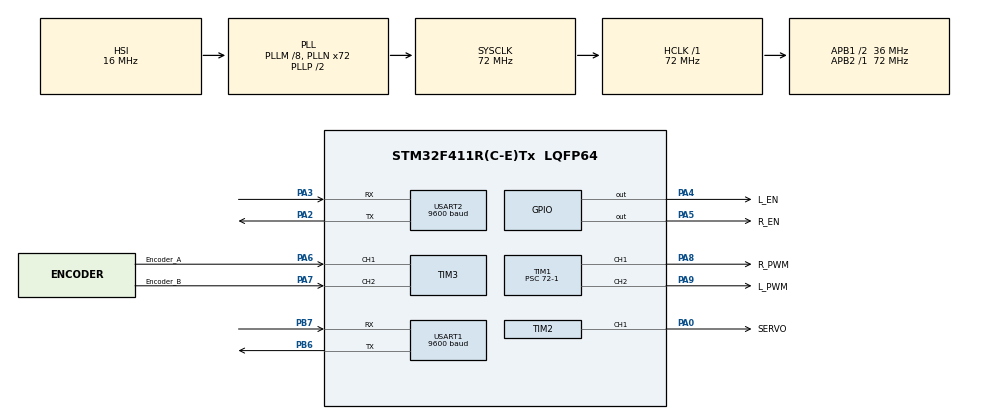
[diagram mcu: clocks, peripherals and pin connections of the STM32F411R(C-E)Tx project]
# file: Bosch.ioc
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FREERTOS.Tasks01=Communication,-1,1024,Commu_function,Default,NULL,Dynamic,NULL,NULL;Motor_Servo_Tas,1,512,Motor_Servo_Task_Function,Default,NULL,Dynamic,NULL,NULL;Re_Encoder_Task,0,512,Read_Encoder,Default,NULL,Dynamic,NULL,NULL
FREERTOS.configUSE_NEWLIB_REENTRANT=1
Mcu.Family=STM32F4
Mcu.Name=STM32F411R(C-E)Tx
Mcu.Package=LQFP64
NVIC.PriorityGroup=NVIC_PRIORITYGROUP_4
NVIC.TIM4_IRQn=true\:15\:0\:false\:false\:true\:false\:false\:true\:true
NVIC.TimeBase=TIM4_IRQn
NVIC.TimeBaseIP=TIM4
NVIC.USART1_IRQn=true\:5\:0\:false\:false\:true\:true\:true\:true\:true
NVIC.USART2_IRQn=true\:5\:0\:false\:false\:true\:true\:true\:true\:true
PA0-WKUP.GPIO_Label=SERVO
PA0-WKUP.GPIO_Speed=GPIO_SPEED_FREQ_HIGH
PA0-WKUP.Signal=S_TIM2_CH1_ETR
PA13.Mode=Serial_Wire
PA13.Signal=SYS_JTMS-SWDIO
PA14.Mode=Serial_Wire
PA14.Signal=SYS_JTCK-SWCLK
PA2.GPIO_Speed=GPIO_SPEED_FREQ_HIGH
PA2.Mode=Asynchronous
PA2.Signal=USART2_TX
PA3.GPIO_Speed=GPIO_SPEED_FREQ_HIGH
PA3.Mode=Asynchronous
PA3.Signal=USART2_RX
PA4.GPIO_Label=L_EN
PA4.GPIO_Speed=GPIO_SPEED_FREQ_HIGH
PA4.PinState=GPIO_PIN_SET
PA4.Signal=GPIO_Output
PA5.GPIO_Label=R_EN
PA5.GPIO_Speed=GPIO_SPEED_FREQ_HIGH
PA5.PinState=GPIO_PIN_SET
PA5.Signal=GPIO_Output
PA6.GPIO_Label=Encoder_A
PA6.GPIO_Speed=GPIO_SPEED_FREQ_HIGH
PA6.Signal=S_TIM3_CH1
PA7.GPIO_Label=Encoder_B
PA7.GPIO_Speed=GPIO_SPEED_FREQ_HIGH
PA7.Signal=S_TIM3_CH2
PA8.GPIO_Label=R_PWM
PA8.GPIO_Speed=GPIO_SPEED_FREQ_HIGH
PA8.Signal=S_TIM1_CH1
PA9.GPIO_Label=L_PWM
PA9.GPIO_Speed=GPIO_SPEED_FREQ_HIGH
PA9.Signal=S_TIM1_CH2
PB6.GPIO_Speed=GPIO_SPEED_FREQ_HIGH
PB6.Mode=Asynchronous
PB6.Signal=USART1_TX
PB7.GPIO_Speed=GPIO_SPEED_FREQ_HIGH
PB7.Mode=Asynchronous
PB7.Signal=USART1_RX
ProjectManager.HeapSize=0x200
ProjectManager.StackSize=0x400
ProjectManager.TargetToolchain=STM32CubeIDE
RCC.48MHZClocksFreq_Value=36000000
RCC.AHBFreq_Value=72000000
RCC.APB1CLKDivider=RCC_HCLK_DIV2
RCC.APB1Freq_Value=36000000
RCC.APB1TimFreq_Value=72000000
RCC.APB2Freq_Value=72000000
RCC.APB2TimFreq_Value=72000000
RCC.CortexFreq_Value=72000000
RCC.HCLKFreq_Value=72000000
RCC.HSE_VALUE=25000000
RCC.HSI_VALUE=16000000
RCC.PLLM=8
RCC.PLLN=72
RCC.SYSCLKFreq_VALUE=72000000
RCC.SYSCLKSource=RCC_SYSCLKSOURCE_PLLCLK
RCC.VCOOutputFreq_Value=144000000
SH.S_TIM1_CH1.0=TIM1_CH1,PWM Generation1 CH1
SH.S_TIM1_CH2.0=TIM1_CH2,PWM Generation2 CH2
SH.S_TIM2_CH1_ETR.0=TIM2_CH1,PWM Generation1 CH1
SH.S_TIM3_CH1.0=TIM3_CH1,Encoder_Interface
SH.S_TIM3_CH2.0=TIM3_CH2,Encoder_Interface
TIM1.Channel-PWM\ Generation1\ CH1=TIM_CHANNEL_1
TIM1.Channel-PWM\ Generation2\ CH2=TIM_CHANNEL_2
TIM1.Period=19999
TIM1.Prescaler=72-1
TIM2.Channel-PWM\ Generation1\ CH1=TIM_CHANNEL_1
TIM2.Period=719
TIM2.Prescaler=1
USART1.BaudRate=9600
USART1.VirtualMode=VM_ASYNC
USART2.BaudRate=9600
USART2.VirtualMode=VM_ASYNC
VP_FREERTOS_VS_CMSIS_V1.Mode=CMSIS_V1
VP_SYS_VS_tim4.Mode=TIM4
VP_TIM1_VS_ClockSourceINT.Mode=Internal
VP_TIM2_VS_ClockSourceINT.Mode=Internal
board=custom

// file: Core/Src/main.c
/* USER CODE BEGIN Header */
/**
  ******************************************************************************
  * @file           : main.c
  * @brief          : Main program body
  ******************************************************************************
  * @attention
  *
  * Copyright (c) 2025 STMicroelectronics.
  * All rights reserved.
  *
  * This software is licensed under terms that can be found in the LICENSE file
  * in the root directory of this software component.
  * If no LICENSE file comes with this software, it is provided AS-IS.
  *
  ******************************************************************************
  */
/* USER CODE END Header */
#include "main.h"
#include "cmsis_os.h"

/* USER CODE BEGIN Includes */
#include <stdio.h>
#include<string.h>
#include<ctype.h>
#include<stdlib.h>

/* USER CODE END Includes */

/* USER CODE BEGIN PD */
#define RX_BUF_SIZE 64
// ---- Cấu hình Servo ----
#define SERVO_RANGE   45     // ±45° góc lái

// ---- Cấu hình Motor (BTS7960) ----
#define PWM_MAX 1000   // ARR = 1000 (PWM resolution)
/* USER CODE END PD */

TIM_HandleTypeDef htim1;
TIM_HandleTypeDef htim2;
TIM_HandleTypeDef htim3;

UART_HandleTypeDef huart1;
UART_HandleTypeDef huart2;

osThreadId CommunicationHandle;
osThreadId Motor_Servo_TasHandle;
osThreadId Re_Encoder_TaskHandle;

void SystemClock_Config(void);
static void MX_GPIO_Init(void);
static void MX_USART1_UART_Init(void);
static void MX_USART2_UART_Init(void);
static void MX_TIM2_Init(void);
static void MX_TIM3_Init(void);
static void MX_TIM1_Init(void);
void Commu_function(void const * argument);
void Motor_Servo_Task_Function(void const * argument);
void Read_Encoder(void const * argument);

/* USER CODE BEGIN 0 */

// log data  qua uart nham debug
int __io_putchar(int ch)
{
	HAL_UART_Transmit(&huart1, (uint8_t*)&ch, 1, 100);
	return ch;
}

uint8_t rxByte;
char rxBuffer[RX_BUF_SIZE];
uint16_t rxIndex = 0;
// Biến kết quả
volatile int motorSpeed = 0; // 0-> 100
volatile int steerAngle = 0; // -45->45

//bien feedback ve pi
char msg[64];
uint8_t flag = 0;
float speed_pulse_ms = 0;
int32_t count = 0;
/* USER CODE END 0 */

int main(void)
{

  /* MCU Configuration--------------------------------------------------------*/

  /* Reset of all peripherals, Initializes the Flash interface and the Systick. */
  HAL_Init();

  /* Configure the system clock */
  SystemClock_Config();

  /* Initialize all configured peripherals */
  MX_GPIO_Init();
  MX_USART1_UART_Init();
  MX_USART2_UART_Init();
  MX_TIM2_Init();
  MX_TIM3_Init();
  MX_TIM1_Init();
  /* USER CODE BEGIN 2 */
	HAL_UART_Receive_IT(&huart1, &rxByte, 1);
	HAL_TIM_PWM_Start(&htim2, TIM_CHANNEL_1); // Servo
	HAL_TIM_PWM_Start(&htim3, TIM_CHANNEL_1); // RPWM
	HAL_TIM_PWM_Start(&htim3, TIM_CHANNEL_2); // LPWM

  /* USER CODE END 2 */

  /* Create the thread(s) */
  /* definition and creation of Communication */
  osThreadDef(Communication, Commu_function, osPriorityBelowNormal, 0, 1024);
  CommunicationHandle = osThreadCreate(osThread(Communication), NULL);

  /* definition and creation of Motor_Servo_Tas */
  osThreadDef(Motor_Servo_Tas, Motor_Servo_Task_Function, osPriorityAboveNormal, 0, 512);
  Motor_Servo_TasHandle = osThreadCreate(osThread(Motor_Servo_Tas), NULL);

  /* definition and creation of Re_Encoder_Task */
  osThreadDef(Re_Encoder_Task, Read_Encoder, osPriorityNormal, 0, 512);
  Re_Encoder_TaskHandle = osThreadCreate(osThread(Re_Encoder_Task), NULL);

  /* Start scheduler */
  osKernelStart();

  /* We should never get here as control is now taken by the scheduler */
  /* Infinite loop */
  while (1)
  {

  }
}

void SystemClock_Config(void)
{
  RCC_OscInitTypeDef RCC_OscInitStruct = {0};
  RCC_ClkInitTypeDef RCC_ClkInitStruct = {0};

  /** Configure the main internal regulator output voltage
  */
  __HAL_RCC_PWR_CLK_ENABLE();
  __HAL_PWR_VOLTAGESCALING_CONFIG(PWR_REGULATOR_VOLTAGE_SCALE1);

  /** Initializes the RCC Oscillators according to the specified parameters
  * in the RCC_OscInitTypeDef structure.
  */
  RCC_OscInitStruct.OscillatorType = RCC_OSCILLATORTYPE_HSI;
  RCC_OscInitStruct.HSIState = RCC_HSI_ON;
  RCC_OscInitStruct.HSICalibrationValue = RCC_HSICALIBRATION_DEFAULT;
  RCC_OscInitStruct.PLL.PLLState = RCC_PLL_ON;
  RCC_OscInitStruct.PLL.PLLSource = RCC_PLLSOURCE_HSI;
  RCC_OscInitStruct.PLL.PLLM = 8;
  RCC_OscInitStruct.PLL.PLLN = 72;
  RCC_OscInitStruct.PLL.PLLP = RCC_PLLP_DIV2;
  RCC_OscInitStruct.PLL.PLLQ = 4;
  if (HAL_RCC_OscConfig(&RCC_OscInitStruct) != HAL_OK)
  {
    Error_Handler();
  }

  /** Initializes the CPU, AHB and APB buses clocks
  */
  RCC_ClkInitStruct.ClockType = RCC_CLOCKTYPE_HCLK|RCC_CLOCKTYPE_SYSCLK
                              |RCC_CLOCKTYPE_PCLK1|RCC_CLOCKTYPE_PCLK2;
  RCC_ClkInitStruct.SYSCLKSource = RCC_SYSCLKSOURCE_PLLCLK;
  RCC_ClkInitStruct.AHBCLKDivider = RCC_SYSCLK_DIV1;
  RCC_ClkInitStruct.APB1CLKDivider = RCC_HCLK_DIV2;
  RCC_ClkInitStruct.APB2CLKDivider = RCC_HCLK_DIV1;

  if (HAL_RCC_ClockConfig(&RCC_ClkInitStruct, FLASH_LATENCY_2) != HAL_OK)
  {
    Error_Handler();
  }
}

static void MX_TIM1_Init(void)
{

  TIM_ClockConfigTypeDef sClockSourceConfig = {0};
  TIM_MasterConfigTypeDef sMasterConfig = {0};
  TIM_OC_InitTypeDef sConfigOC = {0};
  TIM_BreakDeadTimeConfigTypeDef sBreakDeadTimeConfig = {0};

  htim1.Instance = TIM1;
  htim1.Init.Prescaler = 72-1;
  htim1.Init.CounterMode = TIM_COUNTERMODE_UP;
  htim1.Init.Period = 19999;
  htim1.Init.ClockDivision = TIM_CLOCKDIVISION_DIV1;
  htim1.Init.RepetitionCounter = 0;
  htim1.Init.AutoReloadPreload = TIM_AUTORELOAD_PRELOAD_DISABLE;
  if (HAL_TIM_Base_Init(&htim1) != HAL_OK)
  {
    Error_Handler();
  }
  sClockSourceConfig.ClockSource = TIM_CLOCKSOURCE_INTERNAL;
  if (HAL_TIM_ConfigClockSource(&htim1, &sClockSourceConfig) != HAL_OK)
  {
    Error_Handler();
  }
  if (HAL_TIM_PWM_Init(&htim1) != HAL_OK)
  {
    Error_Handler();
  }
  sMasterConfig.MasterOutputTrigger = TIM_TRGO_RESET;
  sMasterConfig.MasterSlaveMode = TIM_MASTERSLAVEMODE_DISABLE;
  if (HAL_TIMEx_MasterConfigSynchronization(&htim1, &sMasterConfig) != HAL_OK)
  {
    Error_Handler();
  }
  sConfigOC.OCMode = TIM_OCMODE_PWM1;
  sConfigOC.Pulse = 0;
  sConfigOC.OCPolarity = TIM_OCPOLARITY_HIGH;
  sConfigOC.OCNPolarity = TIM_OCNPOLARITY_HIGH;
  sConfigOC.OCFastMode = TIM_OCFAST_DISABLE;
  sConfigOC.OCIdleState = TIM_OCIDLESTATE_RESET;
  sConfigOC.OCNIdleState = TIM_OCNIDLESTATE_RESET;
  if (HAL_TIM_PWM_ConfigChannel(&htim1, &sConfigOC, TIM_CHANNEL_1) != HAL_OK)
  {
    Error_Handler();
  }
  if (HAL_TIM_PWM_ConfigChannel(&htim1, &sConfigOC, TIM_CHANNEL_2) != HAL_OK)
  {
    Error_Handler();
  }
  sBreakDeadTimeConfig.OffStateRunMode = TIM_OSSR_DISABLE;
  sBreakDeadTimeConfig.OffStateIDLEMode = TIM_OSSI_DISABLE;
  sBreakDeadTimeConfig.LockLevel = TIM_LOCKLEVEL_OFF;
  sBreakDeadTimeConfig.DeadTime = 0;
  sBreakDeadTimeConfig.BreakState = TIM_BREAK_DISABLE;
  sBreakDeadTimeConfig.BreakPolarity = TIM_BREAKPOLARITY_HIGH;
  sBreakDeadTimeConfig.AutomaticOutput = TIM_AUTOMATICOUTPUT_DISABLE;
  if (HAL_TIMEx_ConfigBreakDeadTime(&htim1, &sBreakDeadTimeConfig) != HAL_OK)
  {
    Error_Handler();
  }
  HAL_TIM_MspPostInit(&htim1);

}

static void MX_TIM2_Init(void)
{

  TIM_ClockConfigTypeDef sClockSourceConfig = {0};
  TIM_MasterConfigTypeDef sMasterConfig = {0};
  TIM_OC_InitTypeDef sConfigOC = {0};

  htim2.Instance = TIM2;
  htim2.Init.Prescaler = 1;
  htim2.Init.CounterMode = TIM_COUNTERMODE_UP;
  htim2.Init.Period = 719;
  htim2.Init.ClockDivision = TIM_CLOCKDIVISION_DIV1;
  htim2.Init.AutoReloadPreload = TIM_AUTORELOAD_PRELOAD_DISABLE;
  if (HAL_TIM_Base_Init(&htim2) != HAL_OK)
  {
    Error_Handler();
  }
  sClockSourceConfig.ClockSource = TIM_CLOCKSOURCE_INTERNAL;
  if (HAL_TIM_ConfigClockSource(&htim2, &sClockSourceConfig) != HAL_OK)
  {
    Error_Handler();
  }
  if (HAL_TIM_PWM_Init(&htim2) != HAL_OK)
  {
    Error_Handler();
  }
  sMasterConfig.MasterOutputTrigger = TIM_TRGO_RESET;
  sMasterConfig.MasterSlaveMode = TIM_MASTERSLAVEMODE_DISABLE;
  if (HAL_TIMEx_MasterConfigSynchronization(&htim2, &sMasterConfig) != HAL_OK)
  {
    Error_Handler();
  }
  sConfigOC.OCMode = TIM_OCMODE_PWM1;
  sConfigOC.Pulse = 0;
  sConfigOC.OCPolarity = TIM_OCPOLARITY_HIGH;
  sConfigOC.OCFastMode = TIM_OCFAST_DISABLE;
  if (HAL_TIM_PWM_ConfigChannel(&htim2, &sConfigOC, TIM_CHANNEL_1) != HAL_OK)
  {
    Error_Handler();
  }
  HAL_TIM_MspPostInit(&htim2);

}

static void MX_TIM3_Init(void)
{

  TIM_Encoder_InitTypeDef sConfig = {0};
  TIM_MasterConfigTypeDef sMasterConfig = {0};

  htim3.Instance = TIM3;
  htim3.Init.Prescaler = 0;
  htim3.Init.CounterMode = TIM_COUNTERMODE_UP;
  htim3.Init.Period = 65535;
  htim3.Init.ClockDivision = TIM_CLOCKDIVISION_DIV1;
  htim3.Init.AutoReloadPreload = TIM_AUTORELOAD_PRELOAD_DISABLE;
  sConfig.EncoderMode = TIM_ENCODERMODE_TI1;
  sConfig.IC1Polarity = TIM_ICPOLARITY_RISING;
  sConfig.IC1Selection = TIM_ICSELECTION_DIRECTTI;
  sConfig.IC1Prescaler = TIM_ICPSC_DIV1;
  sConfig.IC1Filter = 0;
  sConfig.IC2Polarity = TIM_ICPOLARITY_RISING;
  sConfig.IC2Selection = TIM_ICSELECTION_DIRECTTI;
  sConfig.IC2Prescaler = TIM_ICPSC_DIV1;
  sConfig.IC2Filter = 0;
  if (HAL_TIM_Encoder_Init(&htim3, &sConfig) != HAL_OK)
  {
    Error_Handler();
  }
  sMasterConfig.MasterOutputTrigger = TIM_TRGO_RESET;
  sMasterConfig.MasterSlaveMode = TIM_MASTERSLAVEMODE_DISABLE;
  if (HAL_TIMEx_MasterConfigSynchronization(&htim3, &sMasterConfig) != HAL_OK)
  {
    Error_Handler();
  }

}

static void MX_USART1_UART_Init(void)
{

  huart1.Instance = USART1;
  huart1.Init.BaudRate = 9600;
  huart1.Init.WordLength = UART_WORDLENGTH_8B;
  huart1.Init.StopBits = UART_STOPBITS_1;
  huart1.Init.Parity = UART_PARITY_NONE;
  huart1.Init.Mode = UART_MODE_TX_RX;
  huart1.Init.HwFlowCtl = UART_HWCONTROL_NONE;
  huart1.Init.OverSampling = UART_OVERSAMPLING_16;
  if (HAL_UART_Init(&huart1) != HAL_OK)
  {
    Error_Handler();
  }

}

static void MX_USART2_UART_Init(void)
{

  huart2.Instance = USART2;
  huart2.Init.BaudRate = 9600;
  huart2.Init.WordLength = UART_WORDLENGTH_8B;
  huart2.Init.StopBits = UART_STOPBITS_1;
  huart2.Init.Parity = UART_PARITY_NONE;
  huart2.Init.Mode = UART_MODE_TX_RX;
  huart2.Init.HwFlowCtl = UART_HWCONTROL_NONE;
  huart2.Init.OverSampling = UART_OVERSAMPLING_16;
  if (HAL_UART_Init(&huart2) != HAL_OK)
  {
    Error_Handler();
  }

}

static void MX_GPIO_Init(void)
{
  GPIO_InitTypeDef GPIO_InitStruct = {0};

  /* GPIO Ports Clock Enable */
  __HAL_RCC_GPIOA_CLK_ENABLE();
  __HAL_RCC_GPIOB_CLK_ENABLE();

  /*Configure GPIO pin Output Level */
  HAL_GPIO_WritePin(GPIOA, L_EN_Pin|R_EN_Pin, GPIO_PIN_SET);

  /*Configure GPIO pins : L_EN_Pin R_EN_Pin */
  GPIO_InitStruct.Pin = L_EN_Pin|R_EN_Pin;
  GPIO_InitStruct.Mode = GPIO_MODE_OUTPUT_PP;
  GPIO_InitStruct.Pull = GPIO_NOPULL;
  GPIO_InitStruct.Speed = GPIO_SPEED_FREQ_HIGH;
  HAL_GPIO_Init(GPIOA, &GPIO_InitStruct);

}

/* USER CODE BEGIN 4 */
// Hàm callback UART khi nhận xong 1 byte
void HAL_UART_RxCpltCallback(UART_HandleTypeDef *huart)
{
    if(huart->Instance == huart1.Instance)
    {
        if(rxByte == '\n') // Kết thúc chuỗi
        {
            rxBuffer[rxIndex] = '\0';

            // Parse dữ liệu: speed, angle
            char *token = strtok(rxBuffer, ",");
            if(token != NULL)
            {
                motorSpeed = atoi(token);
                token = strtok(NULL, ",");
                if(token != NULL)
                {
                    steerAngle = atoi(token);
                }
            }

            // Reset buffer
            rxIndex = 0;
            memset(rxBuffer, 0, RX_BUF_SIZE);
        }
        else
        {
            if(rxIndex < RX_BUF_SIZE - 1)
            {
                rxBuffer[rxIndex++] = rxByte;
            }
        }

        // Nhận tiếp
        HAL_UART_Receive_IT(&huart1, &rxByte, 1);
    }
}

//
void Motor_SetSpeed(int speed)
{
    if (speed > 255)
    {
        speed = 255;
    }
    // Giá trị PWM sẽ từ 0 đến 1200
    float motorResolution = (719.0)/255;
    uint16_t value = motorResolution*speed;

    if(speed > 0) // Quay thuận
    {
        __HAL_TIM_SET_COMPARE(&htim1, TIM_CHANNEL_1, value);  // RPWM
        __HAL_TIM_SET_COMPARE(&htim1, TIM_CHANNEL_2, 0);     // LPWM
    }
    else if(speed < 0) // Quay nghịch
    {
        __HAL_TIM_SET_COMPARE(&htim1, TIM_CHANNEL_1, 0);     // RPWM
        __HAL_TIM_SET_COMPARE(&htim1, TIM_CHANNEL_2, value);  // LPWM
    }
    else // Dừng
    {
        __HAL_TIM_SET_COMPARE(&htim1, TIM_CHANNEL_1, 0);
        __HAL_TIM_SET_COMPARE(&htim1, TIM_CHANNEL_2, 0);
    }
}

void Servo_SetAngle(int angle)
{
    if(angle > SERVO_RANGE) angle = SERVO_RANGE;
    if(angle < -SERVO_RANGE) angle = -SERVO_RANGE;

    float servoResolution = (2450.0 - 450.0)/180;
    uint16_t value =  servoResolution*angle +530;
    // Timer 2 config: 1 tick = 1us, ARR = 20000 (20ms period)
    __HAL_TIM_SET_COMPARE(&htim2, TIM_CHANNEL_1, value);
}

/* USER CODE END 4 */

void Commu_function(void const * argument)
{
  /* USER CODE BEGIN 5 */
  /* Infinite loop */

	// nhan du lieu tu pi

  for(;;)
  {
	  // truyen du lieu doc tu encoder ve cho pi
	  printf("Task Communication ben ngoai\n");
	  if (flag == 1)
	  {
		  printf("Task Communication ben trong: ");
		  flag = 0;
		  sprintf(msg, "%ld,%.2f\n", count, speed_pulse_ms);
		  printf(msg);
//	        // gửi v�? Pi
	        HAL_UART_Transmit(&huart2, (uint8_t*)msg, strlen(msg), 100);
	  }
    osDelay(500);
  }
  /* USER CODE END 5 */
}

void Motor_Servo_Task_Function(void const * argument)
{
  /* USER CODE BEGIN Motor_Servo_Task_Function */
  /* Infinite loop */

    // Enable BTS7960 cho phep chay ca tien va lui
    HAL_GPIO_WritePin(R_EN_GPIO_Port, R_EN_Pin, GPIO_PIN_SET);
    HAL_GPIO_WritePin(L_EN_GPIO_Port, L_EN_Pin, GPIO_PIN_SET);
  for(;;)
  {
	  printf("Task Motor_Servo: ");
	  printf("motorSpeed: %d;steerAngle:%d \n", motorSpeed,steerAngle);
      // Cập nhật motor
      Motor_SetSpeed(motorSpeed);

      // Cập nhật servo
      Servo_SetAngle(steerAngle);

      osDelay(200); // Servo update mỗi 20ms
  }
  /* USER CODE END Motor_Servo_Task_Function */
}

void Read_Encoder(void const * argument)
{
  /* USER CODE BEGIN Read_Encoder */
  /* Infinite loop */
  int32_t last_count = 0;   // lưu giá trị encoder lần trước
  int32_t delta = 0;

  // Khởi động encoder timer
  HAL_TIM_Encoder_Start(&htim3, TIM_CHANNEL_ALL);
  for(;;)
  {
      // lay giá trị hiện tại
	count = __HAL_TIM_GET_COUNTER(&htim3);

	// Tính độ chênh lệch (xử lý tràn)
	delta = (int32_t)(count - last_count);

	// Nếu vượt qua 32-bit boundary thì đieu chỉnh
	if(delta > (int32_t)(htim3.Init.Period/2))
	  delta -= (htim3.Init.Period + 1);
	else if(delta < -(int32_t)(htim3.Init.Period/2))
	  delta += (htim3.Init.Period + 1);

	// Tính tốc độ (pulse/ms)
	// do osDelay(100) = 100ms => chia cho 100
	speed_pulse_ms = (float)delta / 100.0f;

	// Set flag để task Communication gửi dữ liệu
	flag = 1;

	last_count = count;

	// log data
	int speed_x100 = (int)(speed_pulse_ms * 100); // nhân 100 để giữ 2 chữ số thập phân
	printf("Task encoder: ");
	printf("Encoder: %ld;Speed: %d.%02d pulse/ms\r\n",
		 count,
		 speed_x100 / 100,   // phần nguyên
		 abs(speed_x100 % 100)); // phần thập phân

    osDelay(500);
  }
  /* USER CODE END Read_Encoder */
}

void HAL_TIM_PeriodElapsedCallback(TIM_HandleTypeDef *htim)
{
  if (htim->Instance == TIM4) {
    HAL_IncTick();
  }
}

void Error_Handler(void)
{
  __disable_irq();
  while (1)
  {
  }
}
